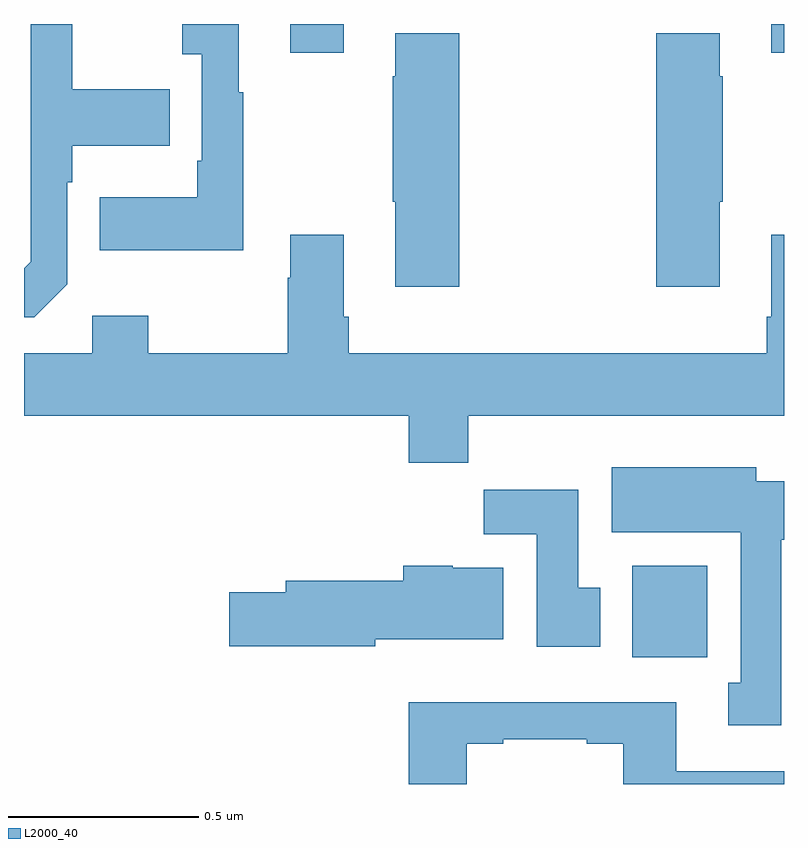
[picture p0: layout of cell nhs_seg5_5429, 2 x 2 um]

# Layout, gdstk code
import gdstk
lib = gdstk.Library(unit=1e-6, precision=1e-09)
def R(c, l, rs):  # rectangles x0, y0, x1, y1
    for r in rs: c.add(gdstk.rectangle(r[:2], r[2:], *l))
def P(c, l, *ps):  # polygons
    for p in ps: c.add(gdstk.Polygon(p, *l))
L2000_40 = (2000, 40)

nhs_seg5_5429 = lib.new_cell('nhs_seg5_5429')
R(nhs_seg5_5429, L2000_40, [(184.601,848.132,184.798,848.374), (183.701,849.723,183.841,849.799), (184.967,849.723,185,849.799)])
P(nhs_seg5_5429, L2000_40, [(183.577,849.619),(183.565,849.619),(183.565,849.799),(183.417,849.799),(183.417,849.719),(183.468,849.719),(183.468,849.439),(183.456,849.439),(183.456,849.343),(183.199,849.343),(183.199,849.203),(183.577,849.203)],
  [(183.114,849.114),(183.114,849.383),(183.127,849.383),(183.127,849.479),(183.383,849.479),(183.383,849.627),(183.127,849.627),(183.127,849.799),(183.018,849.799),(183.018,849.174),(183,849.156),(183,849.027),(183.027,849.027)],
  [(184.145,849.775),(183.977,849.775),(183.977,849.662),(183.97,849.662),(183.97,849.331),(183.977,849.331),(183.977,849.108),(184.145,849.108)],
  [(184.831,849.331),(184.839,849.331),(184.839,849.662),(184.831,849.662),(184.831,849.775),(184.664,849.775),(184.664,849.108),(184.831,849.108)],
  [(184.169,848.768),(185,848.768),(185,849.244),(184.967,849.244),(184.967,849.028),(184.955,849.028),(184.955,848.932),(183.854,848.932),(183.854,849.028),(183.841,849.028),(183.841,849.244),(183.701,849.244),(183.701,849.131),(183.694,849.131),(183.694,848.932),(183.327,848.932),(183.327,849.031),(183.18,849.031),(183.18,848.932),(183,848.932),(183,848.768),(184.013,848.768),(184.013,848.644),(184.169,848.644)],
  [(184.993,848.442),(185,848.442),(185,848.596),(184.927,848.596),(184.927,848.632),(184.547,848.632),(184.547,848.462),(184.886,848.462),(184.886,848.066),(184.853,848.066),(184.853,847.953),(184.993,847.953)],
  [(184.516,848.316),(184.459,848.316),(184.459,848.574),(184.21,848.574),(184.21,848.456),(184.349,848.456),(184.349,848.16),(184.516,848.16)],
  [(183.924,848.18),(184.261,848.18),(184.261,848.368),(184.128,848.368),(184.128,848.374),(183.998,848.374),(183.998,848.334),(183.689,848.334),(183.689,848.304),(183.54,848.304),(183.54,848.162),(183.924,848.162)],
  [(184.165,847.905),(184.261,847.905),(184.261,847.917),(184.481,847.917),(184.481,847.905),(184.577,847.905),(184.577,847.799),(185,847.799),(185,847.833),(184.717,847.833),(184.717,848.014),(184.013,848.014),(184.013,847.799),(184.165,847.799)])

lib.write_gds('nhs_seg5_5429.gds')
